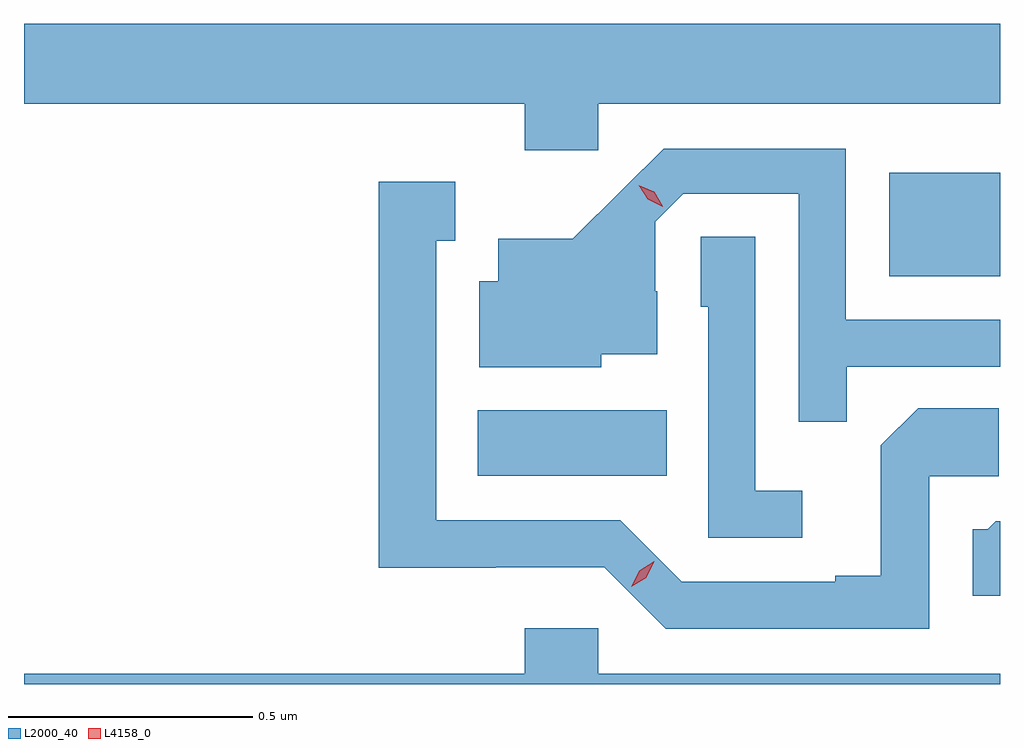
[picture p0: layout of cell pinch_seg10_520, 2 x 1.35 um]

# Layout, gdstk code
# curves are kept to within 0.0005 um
import gdstk
lib = gdstk.Library(unit=1e-6, precision=1e-09)
def R(c, l, rs):  # rectangles x0, y0, x1, y1
    for r in rs: c.add(gdstk.rectangle(r[:2], r[2:], *l))
def P(c, l, *ps):  # polygons
    for p in ps: c.add(gdstk.Polygon(p, *l))
L2000_40 = (2000, 40)
L4158_0 = (4158, 0)

pinch_seg10_520 = lib.new_cell('pinch_seg10_520')
R(pinch_seg10_520, L2000_40, [(387.563,1307.546,387.95,1307.68), (388.406,1307.954,388.633,1308.166)])
P(pinch_seg10_520, L2000_40, [(387.81,1308.308),(388.633,1308.308),(388.633,1308.472),(386.633,1308.472),(386.633,1308.308),(387.659,1308.308),(387.659,1308.213),(387.81,1308.213)],
  [(388.319,1307.769),(388.633,1307.769),(388.633,1307.865),(388.317,1307.865),(388.317,1308.216),(387.944,1308.216),(387.757,1308.031),(387.605,1308.031),(387.605,1307.944),(387.566,1307.944),(387.566,1307.768),(387.816,1307.768),(387.816,1307.795),(387.931,1307.795),(387.931,1307.924),(387.927,1307.924),(387.927,1308.066),(387.984,1308.123),(388.221,1308.123),(388.221,1307.656),(388.319,1307.656)],
  [(388.488,1307.544),(388.63,1307.544),(388.63,1307.684),(388.465,1307.684),(388.389,1307.608),(388.389,1307.341),(388.295,1307.341),(388.295,1307.328),(387.981,1307.328),(387.855,1307.454),(387.478,1307.454),(387.478,1308.027),(387.517,1308.027),(387.517,1308.148),(387.36,1308.148),(387.36,1307.357),(387.6,1307.357),(387.6,1307.358),(387.822,1307.358),(387.948,1307.232),(388.488,1307.232)],
  [(388.228,1307.515),(388.131,1307.515),(388.131,1308.035),(388.02,1308.035),(388.02,1307.892),(388.035,1307.892),(388.035,1307.418),(388.228,1307.418)],
  [(388.633,1307.452),(388.624,1307.452),(388.608,1307.436),(388.577,1307.436),(388.577,1307.3),(388.633,1307.3)],
  [(388.633,1307.14),(387.81,1307.14),(387.81,1307.233),(387.659,1307.233),(387.659,1307.14),(386.633,1307.14),(386.633,1307.118),(388.633,1307.118)])
P(pinch_seg10_520, L4158_0, [(387.942,1308.097),(387.911,1308.112),(387.893,1308.141),(387.893,1308.141),(387.893,1308.141),(387.924,1308.127),(387.942,1308.098),(387.942,1308.097)],
  [(387.877,1307.318),(387.877,1307.318),(387.894,1307.351),(387.925,1307.37),(387.925,1307.37),(387.925,1307.37),(387.908,1307.337),(387.877,1307.318)])

lib.write_gds('pinch_seg10_520.gds')
